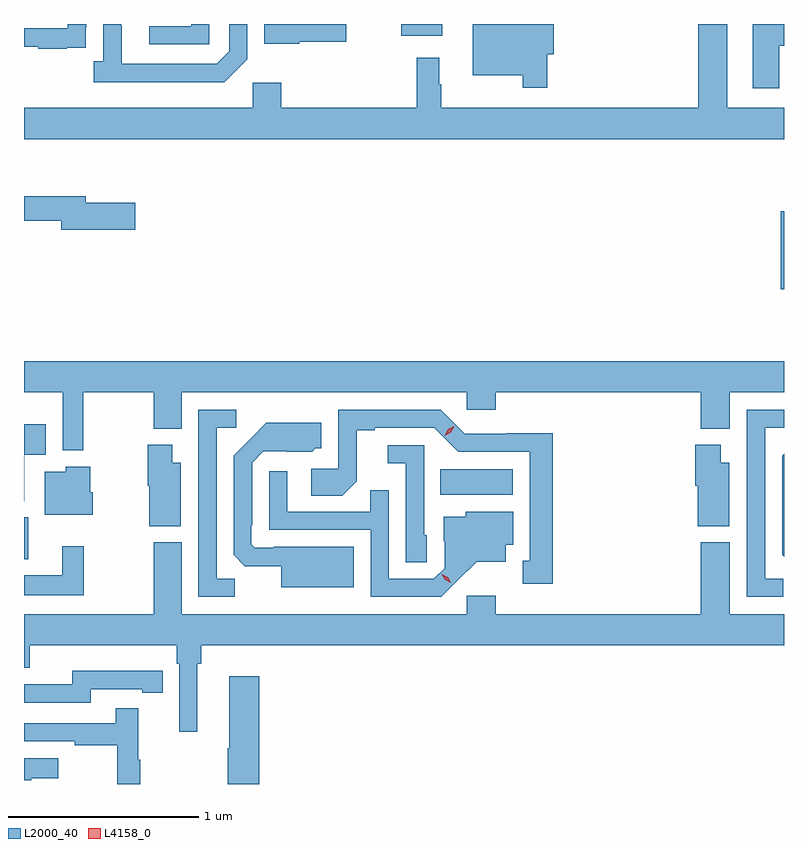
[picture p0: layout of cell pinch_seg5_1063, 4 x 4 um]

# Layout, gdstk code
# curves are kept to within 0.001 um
import gdstk
lib = gdstk.Library(unit=1e-6, precision=1e-09)
def R(c, l, rs):  # rectangles x0, y0, x1, y1
    for r in rs: c.add(gdstk.rectangle(r[:2], r[2:], *l))
def P(c, l, *ps):  # polygons
    for p in ps: c.add(gdstk.Polygon(p, *l))
L2000_40 = (2000, 40)
L4158_0 = (4158, 0)

pinch_seg5_1063 = lib.new_cell('pinch_seg5_1063')
R(pinch_seg5_1063, L2000_40, [(790.965,871.865,790.987,872.085), (793.156,872.204,793.537,872.338), (794.948,873.287,794.965,873.697), (792.95,874.619,793.165,874.682)])
P(pinch_seg5_1063, L2000_40, [(792.414,874.588),(792.661,874.588),(792.661,874.682),(792.23,874.682),(792.23,874.577),(792.414,874.577)],
  [(791.94,874.682),(791.844,874.682),(791.844,874.671),(791.625,874.671),(791.625,874.575),(791.94,874.575)],
  [(791.189,874.557),(791.291,874.557),(791.291,874.666),(791.292,874.666),(791.292,874.682),(791.196,874.682),(791.196,874.659),(790.965,874.659),(790.965,874.563),(791.041,874.563),(791.041,874.551),(791.189,874.551)],
  [(792.141,874.497),(792.141,874.682),(792.045,874.682),(792.045,874.539),(791.979,874.473),(791.479,874.473),(791.478,874.682),(791.382,874.682),(791.382,874.486),(791.331,874.486),(791.331,874.376),(792.02,874.376)],
  [(794.941,874.568),(794.965,874.568),(794.965,874.682),(794.801,874.682),(794.801,874.344),(794.941,874.344)],
  [(793.718,874.523),(793.753,874.523),(793.753,874.681),(793.445,874.681),(793.445,874.682),(793.328,874.682),(793.328,874.412),(793.59,874.412),(793.59,874.347),(793.718,874.347)],
  [(793.033,874.504),(793.033,874.24),(792.32,874.24),(792.32,874.372),(792.168,874.372),(792.168,874.24),(790.965,874.24),(790.965,874.076),(794.965,874.076),(794.965,874.24),(794.665,874.24),(794.665,874.681),(794.513,874.681),(794.513,874.24),(793.162,874.24),(793.162,874.364),(793.15,874.364),(793.15,874.504)],
  [(791.551,873.741),(791.29,873.741),(791.29,873.775),(790.965,873.775),(790.965,873.646),(791.162,873.646),(791.162,873.599),(791.551,873.599)],
  [(791.278,872.744),(791.647,872.744),(791.647,872.552),(791.794,872.552),(791.794,872.744),(793.296,872.744),(793.296,872.651),(793.448,872.651),(793.448,872.744),(794.528,872.744),(794.528,872.552),(794.68,872.552),(794.68,872.744),(794.965,872.744),(794.965,872.908),(790.965,872.908),(790.965,872.744),(791.169,872.744),(791.169,872.438),(791.278,872.438)],
  [(792.075,871.763),(791.979,871.763),(791.979,872.556),(792.082,872.556),(792.082,872.652),(791.883,872.652),(791.883,871.668),(792.075,871.668)],
  [(794.961,871.763),(794.865,871.763),(794.865,872.556),(794.965,872.556),(794.965,872.652),(794.769,872.652),(794.769,871.668),(794.961,871.668)],
  [(793.747,872.528),(793.506,872.528),(793.506,872.526),(793.284,872.526),(793.158,872.652),(792.618,872.652),(792.618,872.34),(792.477,872.34),(792.477,872.2),(792.641,872.2),(792.717,872.276),(792.717,872.544),(792.811,872.544),(792.811,872.556),(793.125,872.556),(793.251,872.43),(793.628,872.43),(793.628,871.857),(793.589,871.857),(793.589,871.737),(793.747,871.737)],
  [(792.7,871.93),(792.28,871.93),(792.28,871.926),(792.18,871.926),(792.162,871.944),(792.162,872.044),(792.165,872.044),(792.165,872.373),(792.225,872.433),(792.482,872.432),(792.498,872.448),(792.529,872.448),(792.529,872.584),(792.241,872.584),(792.069,872.41),(792.069,871.888),(792.128,871.829),(792.32,871.829),(792.32,871.718),(792.7,871.718)],
  [(790.966,872.414),(791.08,872.414),(791.08,872.575),(790.965,872.575),(790.965,872.17),(790.966,872.17)],
  [(791.791,872.374),(791.746,872.374),(791.746,872.467),(791.617,872.467),(791.617,872.253),(791.624,872.253),(791.624,872.039),(791.791,872.039)],
  [(794.677,872.374),(794.632,872.374),(794.632,872.467),(794.498,872.467),(794.498,872.253),(794.51,872.253),(794.51,872.039),(794.677,872.039)],
  [(793.086,871.992),(793.071,871.992),(793.071,872.466),(792.879,872.466),(792.879,872.369),(792.975,872.369),(792.975,871.849),(793.086,871.849)],
  [(794.965,872.42),(794.955,872.41),(794.955,871.888),(794.965,871.878)],
  [(791.328,872.217),(791.313,872.217),(791.313,872.353),(791.184,872.353),(791.184,872.326),(791.075,872.326),(791.075,872.099),(791.328,872.099)],
  [(793.246,871.751),(793.349,871.853),(793.501,871.853),(793.501,871.94),(793.54,871.94),(793.54,872.116),(793.29,872.116),(793.29,872.089),(793.175,872.089),(793.175,871.96),(793.179,871.96),(793.179,871.818),(793.122,871.761),(792.885,871.761),(792.885,872.228),(792.787,872.228),(792.787,872.115),(792.351,872.115),(792.351,872.329),(792.255,872.329),(792.255,872.019),(792.789,872.019),(792.789,871.668),(793.162,871.668)],
  [(791.878,871.316),(791.897,871.316),(791.897,871.412),(794.965,871.412),(794.965,871.576),(794.68,871.576),(794.68,871.954),(794.528,871.954),(794.528,871.576),(793.448,871.576),(793.448,871.672),(793.296,871.672),(793.296,871.576),(791.794,871.576),(791.794,871.954),(791.647,871.954),(791.647,871.576),(790.965,871.576),(790.965,871.295),(790.996,871.295),(790.996,871.412),(791.768,871.412),(791.768,871.316),(791.781,871.316),(791.781,870.957),(791.878,870.957)],
  [(791.279,871.933),(791.165,871.933),(791.165,871.78),(790.965,871.78),(790.965,871.676),(791.279,871.676)],
  [(791.316,871.182),(791.588,871.182),(791.588,871.162),(791.696,871.162),(791.696,871.278),(791.588,871.278),(791.588,871.279),(791.22,871.279),(791.22,871.206),(790.965,871.206),(790.965,871.11),(791.316,871.11)],
  [(792.203,871.249),(792.044,871.249),(792.044,870.869),(792.037,870.869),(792.037,870.682),(792.203,870.682)],
  [(791.578,870.809),(791.567,870.809),(791.567,871.081),(791.449,871.081),(791.449,871.002),(790.965,871.002),(790.965,870.906),(791.233,870.906),(791.233,870.886),(791.457,870.886),(791.457,870.682),(791.578,870.682)],
  [(791.003,870.713),(791.146,870.713),(791.146,870.817),(790.965,870.817),(790.965,870.703),(791.003,870.703)])
P(pinch_seg5_1063, L4158_0, [(793.211,871.741),(793.181,871.756),(793.163,871.785),(793.163,871.786),(793.164,871.786),(793.194,871.771),(793.211,871.741),(793.211,871.741)],
  [(793.179,872.515),(793.179,872.516),(793.197,872.548),(793.229,872.566),(793.229,872.566),(793.229,872.566),(793.211,872.534),(793.179,872.515)])

lib.write_gds('pinch_seg5_1063.gds')
